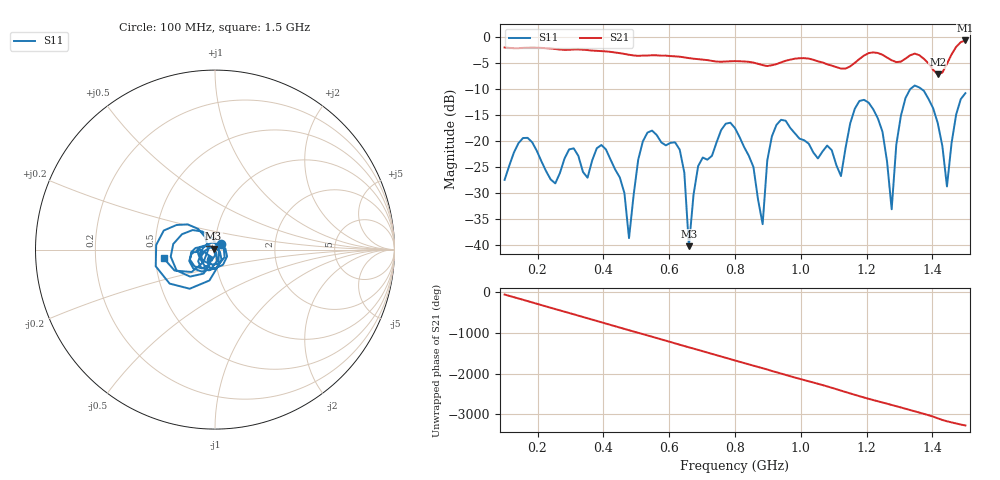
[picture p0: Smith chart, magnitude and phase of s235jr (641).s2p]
! NanoVNA-App
! Date: 2025-09-25 15:09:09
! Start: 100MHz Stop: 1,5GHz Points: 101
! S-Parameter data: F S11 S21 S12 S22
# Hz S RI R 50
!  Frequency  S11_Real  S11_Imag  S21_Real  S21_Imag  S12_Real  S12_Imag  S22_Real  S22_Imag
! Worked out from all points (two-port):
!   101 points, 100 MHz to 1.5 GHz, reference 50 ohm
!   highest |S21| = -0.61 dB at 1.5 GHz (marker M1); lowest = -7.2 dB at 1.416 GHz (marker M2)
!   |S21| within 3 dB of the highest: start of sweep to 602 MHz; 1.19 GHz to 1.254 GHz (64.16 MHz wide, 5.25 % of centre) (the widest 2 of 4)
!   lowest |S11| = -40.3 dB at 660 MHz (marker M3), VSWR 1.02, Z = 49.2 + j0.534 ohm
!   |S11| at or under -10 dB: start of sweep to 1.332 GHz; 1.367 GHz to end of sweep
!   S12 and S22 are empty: the file has one direction only
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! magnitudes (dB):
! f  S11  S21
! 100 MHz  -27.5  -2.0
! 156 MHz  -19.4  -2.0
! 338 MHz  -25.9  -2.4
! 408 MHz  -21.6  -2.7
! 478 MHz  -38.7  -3.4
! 520 MHz  -20.1  -3.5
! 576 MHz  -20.3  -3.5
! 632 MHz  -21.7  -3.7
! 660 MHz  -40.3  -4.0
! 688 MHz  -24.8  -4.2
! 800 MHz  -17.5  -4.6
! 884 MHz  -36.0  -5.4
! 926 MHz  -16.9  -5.2
! 1.038 GHz  -22.2  -4.3
! 1.122 GHz  -26.7  -6.0
! 1.206 GHz  -12.6  -3.0
! 1.248 GHz  -18.2  -3.4
! 1.276 GHz  -33.1  -4.4
! 1.332 GHz  -10.0  -3.5
! 1.416 GHz  -16.5  -7.2
! 1.444 GHz  -28.7  -5.1
! 1.5 GHz  -10.8  -0.6
